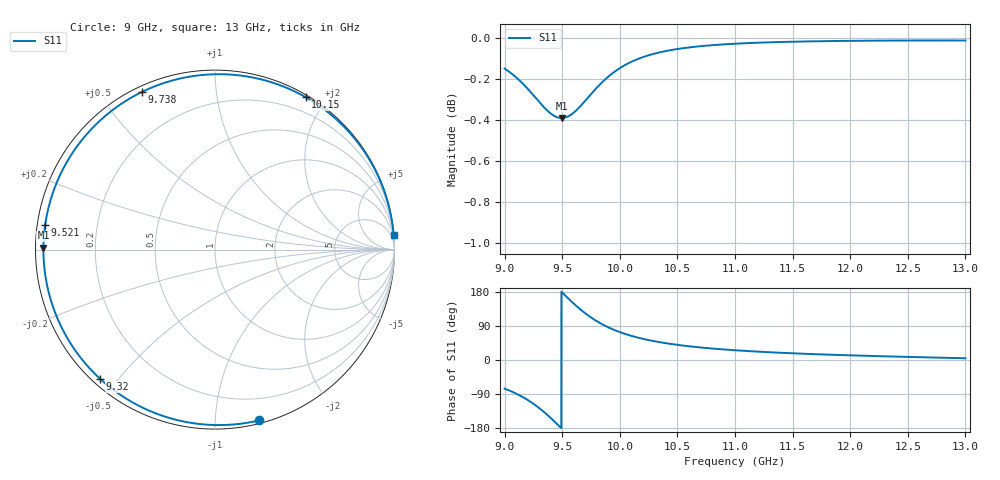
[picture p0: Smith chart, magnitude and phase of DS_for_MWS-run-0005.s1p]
! TOUCHSTONE file generated by CST DESIGN STUDIO
! Date and time: Tue Feb  4 13:23:55 2025
! Project name: C:\Work\MatlabApps\UnitCellOptimizationMatlab\CST\unitcell.cst
! Tree item: Tasks\Sweep1\SPara1\S-Parameters
! Header version: 2024
! Port assignment regex: !\s*Touchstone port\s*([0-9]+)\s*=\s*(CST MWS port|CST DES external port|CST DES block port)\s*(.+)\s* \(\"(.*)\"\)(\s*mode\s*([0-9]+))?.*
! Touchstone port assignment:
! Touchstone port 1 = CST DES external port 1 ("")
# GHz S MA R 50
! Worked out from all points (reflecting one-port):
!   4001 points, 9 GHz to 13 GHz, reference 50 ohm
!   lowest |S11| = -0.4 dB at 9.495 GHz (marker M1), VSWR 44.49, Z = 1.12 + j0.285 ohm
!   phase of S11 starts at -76 deg and turns -280 deg over the sweep
!   S11 on the Smith chart (normalised r, x): 9 GHz: 0.02, -1.29; 9.32 GHz: 0.02, -0.45; 9.521 GHz: 0.02, +0.07; 9.738 GHz: 0.02, +0.64; 10.15 GHz: 0.02, +1.76; 13 GHz: 0, +25
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9  0.9829 -75.6
9.084  0.9789 -86.3
9.184  0.9729 -102.4
9.255  0.968 -116.5
9.32  0.9633 -131.6
9.367  0.9603 -143.8
9.416  0.9577 -157.4
9.456  0.9565 -169.1
9.495  0.956 179.3
9.5  0.956 177.9
9.521  0.9562 171.6
9.574  0.9577 156.1
9.634  0.9609 139.6
9.685  0.9643 126.8
9.738  0.9681 114.8
9.791  0.9718 104.1
9.85  0.9756 93.8
9.924  0.9797 82.9
10  0.9831 73.6
10.154  0.9881 59.3
10.311  0.9913 48.9
10.5  0.9937 40.0
10.722  0.9954 32.4
11  0.9966 25.7
11.5  0.9978 17.7
12  0.9983 12.3
12.5  0.9984 8.1
13  0.9984 4.6
